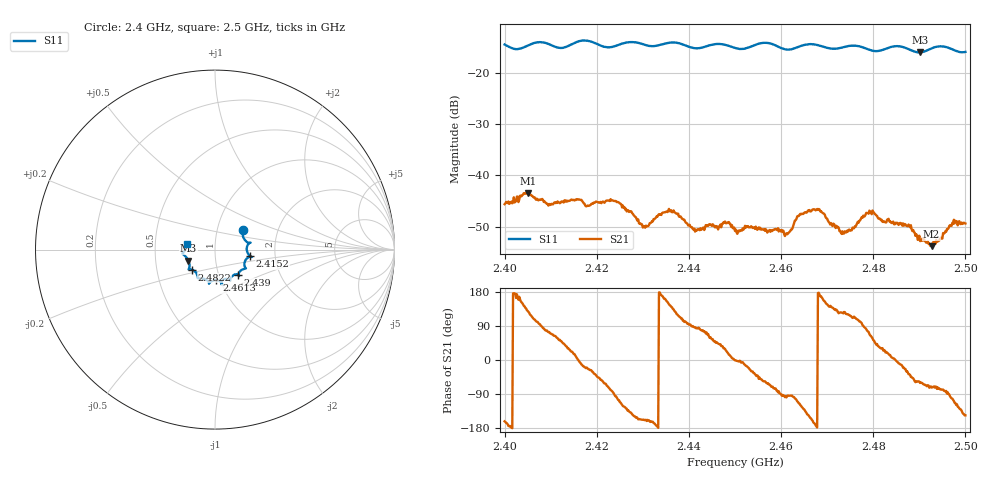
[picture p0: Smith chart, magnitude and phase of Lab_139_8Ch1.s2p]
# Hz S RI R 50
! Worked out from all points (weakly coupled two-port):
!   601 points, 2.4 GHz to 2.5 GHz, reference 50 ohm
!   highest |S21| = -43.41 dB at 2.405 GHz (marker M1); lowest = -53.8 dB at 2.4927 GHz (marker M2)
!   lowest |S11| = -15.9 dB at 2.4902 GHz (marker M3), VSWR 1.38, Z = 36.9 - j4.63 ohm
!   |S11| at or under -10 dB: start of sweep to end of sweep
!   S12 and S22 are empty: the file has one direction only
!   S11 on the Smith chart (normalised r, x): 2.4 GHz: 1.33, +0.31; 2.4152 GHz: 1.48, -0.11; 2.439 GHz: 1.24, -0.36; 2.4613 GHz: 0.96, -0.34; 2.4822 GHz: 0.76, -0.17; 2.5 GHz: 0.73, +0.05
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2.4e9  0.1557 0.1107  -0.00497 -0.00163  0 0  0 0
2.405e9  0.1822 0.0395  -0.0043 0.00521  0 0  0 0
2.409667e9  0.1892 0.0348  0.00146 0.00505  0 0  0 0
2.415167e9  0.1946 -0.0361  0.00548 0.00152  0 0  0 0
2.416667e9  0.2041 -0.0417  0.00565 -0.00116  0 0  0 0
2.424333e9  0.1643 -0.089  -0.000845 -0.00542  0 0  0 0
2.4305e9  0.1535 -0.1108  -0.00286 -0.00114  0 0  0 0
2.433333e9  0.1325 -0.133  -0.0041 -6.53e-05  0 0  0 0
2.436167e9  0.1344 -0.1479  -0.00351 0.00291  0 0  0 0
2.439e9  0.1278 -0.1392  -0.000659 0.00363  0 0  0 0
2.441333e9  0.1047 -0.1411  0.000175 0.00282  0 0  0 0
2.45e9  0.0683 -0.1633  0.00286 -4.33e-05  0 0  0 0
2.461333e9  0.00738 -0.1701  -0.000208 -0.00265  0 0  0 0
2.466667e9  -0.0333 -0.1897  -0.00422 -0.00172  0 0  0 0
2.473167e9  -0.0786 -0.1602  -0.00153 0.0022  0 0  0 0
2.479e9  -0.1004 -0.138  0.00118 0.00406  0 0  0 0
2.482167e9  -0.1279 -0.1119  0.00318 0.00148  0 0  0 0
2.483333e9  -0.1393 -0.1104  0.00363 0.00101  0 0  0 0
2.490167e9  -0.1479 -0.0612  0.00111 -0.00199  0 0  0 0
2.492667e9  -0.1725 -0.0304  0.0006 -0.00194  0 0  0 0
2.497667e9  -0.1674 -0.00445  -0.00133 -0.00313  0 0  0 0
2.5e9  -0.1583 0.0337  -0.00281 -0.00189  0 0  0 0
